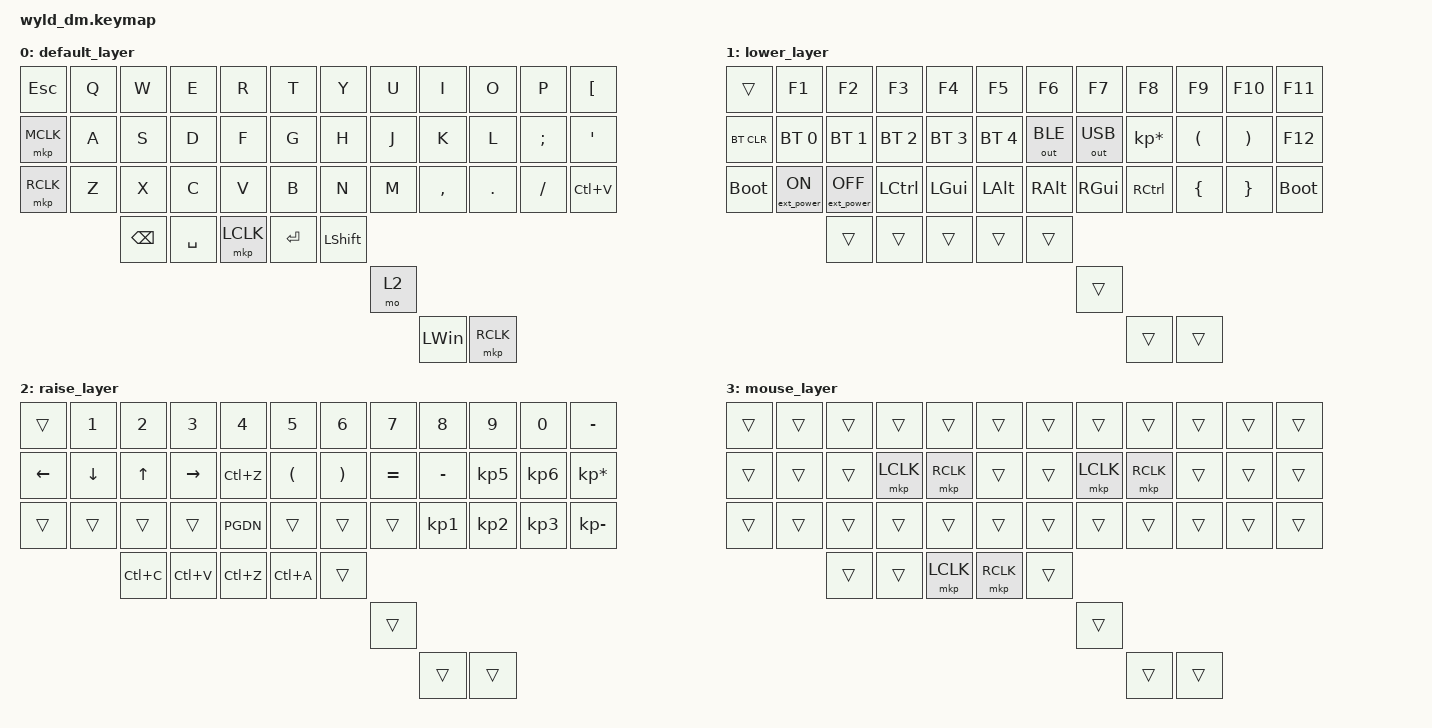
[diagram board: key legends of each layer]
/*
 * Copyright (c) 2020 The ZMK Contributors
 *
 * SPDX-License-Identifier: MIT
 */

#include <dt-bindings/zmk/mouse.h>
#include <behaviors/mouse_keys.dtsi>
#include <behaviors.dtsi>
#include <dt-bindings/zmk/bt.h>
#include <dt-bindings/zmk/ext_power.h>
#include <dt-bindings/zmk/keys.h>
#include <dt-bindings/zmk/outputs.h>
#include <dt-bindings/zmk/pointing.h>

#define QWERTY 0
#define LOWER 1
#define RAISE 2
#define MOUSE 3

// 5x6

/ {
    keymap {
        compatible = "zmk,keymap";

        default_layer {
            bindings = <
&kp ESC    &kp Q  &kp W          &kp E      &kp R      &kp T          &kp Y           &kp U  &kp I         &kp O      &kp P     &kp LBKT
&mkp MCLK  &kp A  &kp S          &kp D      &kp F      &kp G          &kp H           &kp J  &kp K         &kp L      &kp SEMI  &kp SQT
&mkp RCLK  &kp Z  &kp X          &kp C      &kp V      &kp B          &kp N           &kp M  &kp COMMA     &kp DOT    &kp FSLH  &kp LC(V)
                  &kp BACKSPACE  &kp SPACE  &mkp LCLK  &kp ENTER      &kp LEFT_SHIFT
                                                                                      &mo 2
                                                                                             &kp LEFT_WIN  &mkp RCLK
            >;
        };

        lower_layer {
            bindings = <
&trans       &kp F1            &kp F2             &kp F3        &kp F4        &kp F5            &kp F6        &kp F7        &kp F8           &kp F9    &kp F10   &kp F11
&bt BT_CLR   &bt BT_SEL 0      &bt BT_SEL 1       &bt BT_SEL 2  &bt BT_SEL 3  &bt BT_SEL 4      &out OUT_BLE  &out OUT_USB  &kp KP_MULTIPLY  &kp LPAR  &kp RPAR  &kp F12
&bootloader  &ext_power EP_ON  &ext_power EP_OFF  &kp LCTRL     &kp LGUI      &kp LALT          &kp RALT      &kp RGUI      &kp RCTRL        &kp LBRC  &kp RBRC  &bootloader
                               &trans             &trans        &trans        &trans            &trans
                                                                                                              &trans
                                                                                                                            &trans           &trans
            >;
        };

        raise_layer {
            bindings = <
&trans    &kp N1    &kp N2     &kp N3     &kp N4     &kp N5         &kp N6    &kp N7     &kp N8     &kp N9     &kp N0     &kp MINUS
&kp LEFT  &kp DOWN  &kp UP     &kp RIGHT  &kp LC(Z)  &kp LPAR       &kp RPAR  &kp EQUAL  &kp MINUS  &kp KP_N5  &kp KP_N6  &kp KP_MULTIPLY
&trans    &trans    &trans     &trans     &kp PGDN   &trans         &trans    &trans     &kp KP_N1  &kp KP_N2  &kp KP_N3  &kp KP_MINUS
                    &kp LC(C)  &kp LC(V)  &kp LC(Z)  &kp LC(A)      &trans
                                                                              &trans
                                                                                         &trans     &trans
            >;
        };

        mouse_layer {
            bindings = <
&trans  &trans  &trans  &trans     &trans     &trans         &trans  &trans     &trans     &trans  &trans  &trans
&trans  &trans  &trans  &mkp LCLK  &mkp RCLK  &trans         &trans  &mkp LCLK  &mkp RCLK  &trans  &trans  &trans
&trans  &trans  &trans  &trans     &trans     &trans         &trans  &trans     &trans     &trans  &trans  &trans
                &trans  &trans     &mkp LCLK  &mkp RCLK      &trans
                                                                     &trans
                                                                                &trans     &trans
            >;
        };
    };
};
